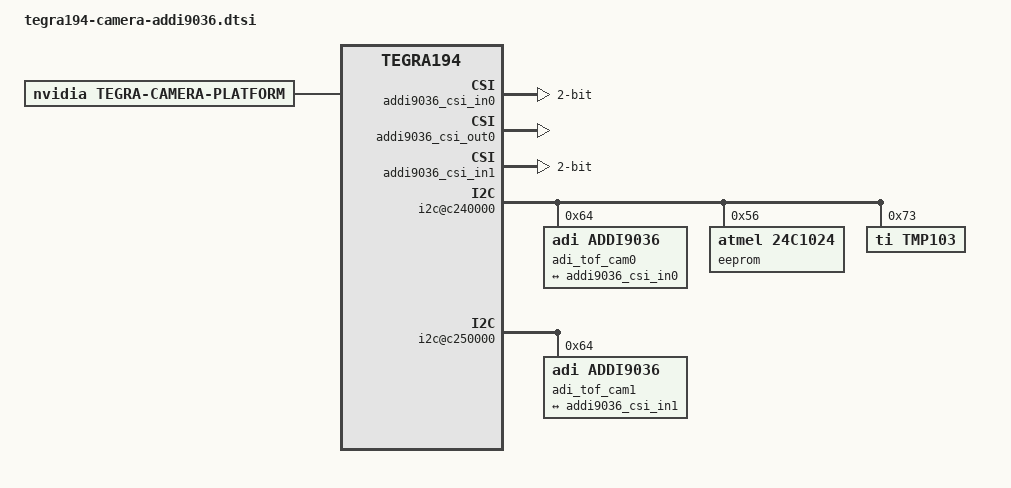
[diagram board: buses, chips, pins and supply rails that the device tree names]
/*
 * Copyright (c) 2016-2019, NVIDIA CORPORATION.  All rights reserved.
 *
 * This program is free software; you can redistribute it and/or modify
 * it under the terms of the GNU General Public License as published by
 * the Free Software Foundation; either version 2 of the License, or
 * (at your option) any later version.
 *
 * This program is distributed in the hope that it will be useful, but WITHOUT
 * ANY WARRANTY; without even the implied warranty of MERCHANTABILITY or
 * FITNESS FOR A PARTICULAR PURPOSE.  See the GNU General Public License for
 * more details.
 *
 * You should have received a copy of the GNU General Public License
 * along with this program.  If not, see <http://www.gnu.org/licenses/>.
 */

/ {
	tegra-capture-vi {
			num-channels = <2>;
			ports {
				#address-cells = <1>;
				#size-cells = <0>;
				port@0 {
					reg = <0>;
					addi9036_vi_in0: endpoint {
						port-index = <4>;
						bus-width = <2>;
						vc-id = <0>;
						remote-endpoint = <&addi9036_csi_out0>;
					};
				};
				port@1 {
					reg = <1>;
					addi9036_vi_in1: endpoint {
						port-index = <4>;
						bus-width = <2>;
						vc-id = <1>;
						remote-endpoint = <&addi9036_csi_out1>;
					};
				};
			};
		};
	host1x@13e00000 {
		nvcsi@15a00000 {
			num-channels = <2>;
            num-tpg-channels = <36>;
			channel@0 {
				status = "okay";
				reg = <0>;
				ports {
					port@0 {
						status = "okay";
                        reg = <0>;
						addi9036_csi_in0: endpoint@0 {
                            status = "okay";
							port-index = <4>;
							bus-width = <2>;
							remote-endpoint = <&adi9036_out0>;
						};
					};
					port@1 {
						status = "okay";
                        reg = <1>;
						addi9036_csi_out0: endpoint@1 {
                            status = "okay";
							remote-endpoint = <&addi9036_vi_in0>;
						};
					};
				};
			};
			channel@1 {
				status = "okay";
				reg = <1>;
				ports {
					port@0 {
						status = "okay";
						reg = <0>;
						addi9036_csi_in1: endpoint@0 {
                            status = "okay";
							port-index = <4>;
							bus-width = <2>;
							remote-endpoint = <&adi9036_out1>;
						};
					};
					port@1 {
						status = "okay";
						reg = <1>;
						addi9036_csi_out1: endpoint@1 {
							remote-endpoint = <&addi9036_vi_in1>;
						};
					};
				};
			};

		};
		
	};

	i2c@c240000 {
		adi_tof_cam0@64 {
            status="okay";
			compatible = "adi,addi9036";
			reg = <0x64>;
			sensor_model = "MN34906BL";
			physical_w = "2.688";
			use_decibel_gain = "true";
			devnode = "video0";
			delayed_gain = "true";
			use_sensor_mode_id = "true";
			physical_h = "3.584";

			mode0 {				
				mclk_khz = "45000";
				num_lanes = "2";
				tegra_sinterface = "serial_e";
				phy_mode = "DPHY";
				discontinuous_clk = "no";
				dpcm_enable = "false";
				cil_settletime = "0";

				active_w = "640";
				active_h = "480";
				mode_type = "bayer";
				pixel_phase = "bggr";
				csi_pixel_bit_depth = "12";
				pix_clk_hz = "73728000";
				line_length = "640";
				inherent_gain = "1";
				min_hdr_ratio = "1";
				max_hdr_ratio = "1";

				min_gain_val = "0";         /* 0dB */
        			max_gain_val = "0";       /* 48dB */
        			step_gain_val = "1";        /* 0.3 */
        			default_gain = "0";

				min_framerate = "5000000";
				max_framerate = "30000000";
				step_framerate = "1";
				default_framerate = "30000000";

				embedded_metadata_height = "0";
			};

			ports {
				#address-cells = <0x1>;
				#size-cells = <0x0>;

				port@0 {
					reg = <0x0>;
					adi9036_out0: endpoint {
						port-index = <4>;
						remote-endpoint = <&addi9036_csi_in0>;
						bus-width = <2>;
						vc-id = <0>;
					};
				};
			};
		};

		eeprom@56 {
            status="okay";
			reg = <0x56>;
			compatible = "atmel,24c1024";
			pagesize = <32>;
		};
		
		tmp103: tmp103@73 {
            status="okay";
            compatible = "ti,tmp103";
            reg = <0x73>;
		};	
	};

	i2c@c250000 {
		adi_tof_cam1@64 {
            status="okay";
			compatible = "adi,addi9036";
			reg = <0x64>;
			sensor_model = "MN34906BL";
			physical_w = "2.688";
			use_decibel_gain = "true";
			devnode = "video0";
			delayed_gain = "true";
			use_sensor_mode_id = "true";
			physical_h = "3.584";

			mode0 {				
                status="okay";
				mclk_khz = "45000";
				num_lanes = "2";
				tegra_sinterface = "serial_e";
				phy_mode = "DPHY";
				discontinuous_clk = "no";
				dpcm_enable = "false";
				cil_settletime = "0";

				active_w = "640";
				active_h = "480";
				mode_type = "bayer";
				pixel_phase = "bggr";
				csi_pixel_bit_depth = "12";
				pix_clk_hz = "73728000";
				line_length = "640";
				inherent_gain = "1";
				min_hdr_ratio = "1";
				max_hdr_ratio = "1";

				min_gain_val = "0";         /* 0dB */
        			max_gain_val = "0";       /* 48dB */
        			step_gain_val = "1";        /* 0.3 */
        			default_gain = "0";

				min_framerate = "5000000";
				max_framerate = "30000000";
				step_framerate = "1";
				default_framerate = "30000000";

				embedded_metadata_height = "0";
			};

			ports {
				#address-cells = <0x1>;
				#size-cells = <0x0>;
                status="okay";
				port@0 {
                    status="okay";
					reg = <0x0>;
					adi9036_out1: endpoint {
                        status="okay";
						port-index = <4>;
						remote-endpoint = <&addi9036_csi_in1>;
						bus-width = <2>;
						vc-id = <1>;
					};
				};
			};
		};		
	};
};

/ {
	tegra-camera-platform {
		compatible = "nvidia, tegra-camera-platform";
		/**
		* Physical settings to calculate max ISO BW
		*
		* num_csi_lanes = <>;
		* Total number of CSI lanes when all cameras are active
		*
		* max_lane_speed = <>;
		* Max lane speed in Kbit/s
		*
		* min_bits_per_pixel = <>;
		* Min bits per pixel
		*
		* vi_peak_byte_per_pixel = <>;
		* Max byte per pixel for the VI ISO case
		*
		* vi_bw_margin_pct = <>;
		* Vi bandwidth margin in percentage
		*
		* max_pixel_rate = <>;
		* Max pixel rate in Kpixel/s for the ISP ISO case
		*
		* isp_peak_byte_per_pixel = <>;
		* Max byte per pixel for the ISP ISO case
		*
		* isp_bw_margin_pct = <>;
		* Isp bandwidth margin in percentage
		*/
		num_csi_lanes = <2>;
		max_lane_speed = <1500000>;
		max_pixel_rate = <240000>;
		min_bits_per_pixel = <12>;
		vi_peak_byte_per_pixel = <2>;
		vi_bw_margin_pct = <25>;
		isp_peak_byte_per_pixel = <5>;
		isp_bw_margin_pct = <25>;

		/**
		 * The general guideline for naming badge_info contains 3 parts, and is as follows,
		 * The first part is the camera_board_id for the module; if the module is in a FFD
		 * platform, then use the platform name for this part.
		 * The second part contains the position of the module, ex. "rear" or "front".
		 * The third part contains the last 6 characters of a part number which is found
		 * in the module's specsheet from the vender.
		 */
		modules {
			module0 {
				badge = "adi_tof_depth";
				position = "bottom";
				orientation = "0";
				drivernode0 {
					devname = "addi9036 1-0064";
					pcl_id = "v4l2_sensor";
					proc-device-tree = "/proc/device-tree/i2c@c240000/adi_tof_cam0@64";
				};
			};

			module1 {
				badge = "adi_tof_ir";
				position = "top";
				orientation = "1";
				drivernode1 {
					devname = "addi9036 7-0064";
					pcl_id = "v4l2_sensor";
					proc-device-tree = "/proc/device-tree/i2c@c250000/adi_tof_cam1@64";
				};
			};
		};
	};
};
